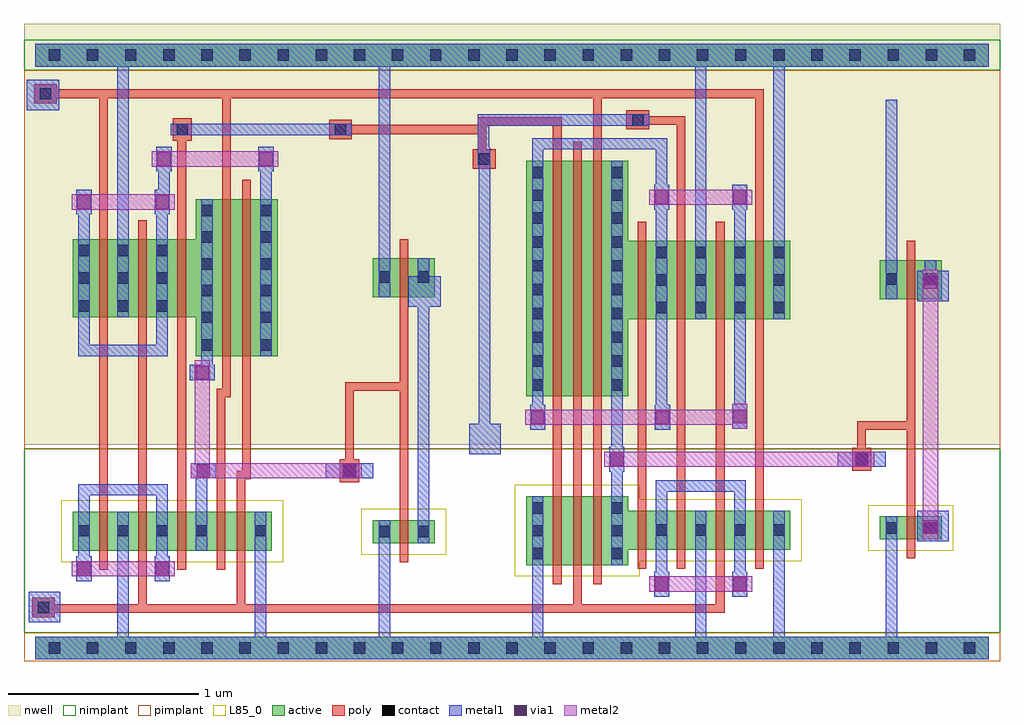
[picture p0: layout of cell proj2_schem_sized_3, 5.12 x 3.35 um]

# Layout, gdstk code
from math import pi, radians
import gdstk
lib = gdstk.Library(unit=1e-6, precision=5e-10)
def R(c, l, rs):  # rectangles x0, y0, x1, y1
    for r in rs: c.add(gdstk.rectangle(r[:2], r[2:], *l))
def A(c, l, x, y, w, h, nx, ny, dx, dy):  # array of equal rectangles
    R(c, l, [(x+i*dx, y+j*dy, x+i*dx+w, y+j*dy+h) for i in range(nx) for j in range(ny)])
def P(c, l, *ps):  # polygons
    for p in ps: c.add(gdstk.Polygon(p, *l))
active = (1, 0)
nwell = (2, 0)
poly = (3, 0)
nimplant = (4, 0)
pimplant = (5, 0)
contact = (6, 0)
metal1 = (7, 0)
via1 = (8, 0)
metal2 = (9, 0)
L85_0 = (85, 0)

nmos1v_cdns_14 = lib.new_cell('nmos1v_CDNS_14')
R(nmos1v_cdns_14, active, [(-0.14,0,0,0.12), (0,0,0.045,0.12), (0.045,0,0.185,0.12)])
R(nmos1v_cdns_14, poly, [(0,-0.1,0.045,-0.05), (0,-0.05,0.045,0), (0,0,0.045,0.12), (0,0.12,0.045,0.17), (0,0.17,0.045,0.22)])
R(nmos1v_cdns_14, nimplant, [(-0.1,-0.1,0.145,0.22), (-0.21,-0.07,0.255,0.19)])
R(nmos1v_cdns_14, contact, [(-0.11,0.03,-0.05,0.09), (0.095,0.03,0.155,0.09)])
R(nmos1v_cdns_14, metal1, [(-0.11,0,-0.05,0.12), (0.095,0,0.155,0.12)])
R(nmos1v_cdns_14, L85_0, [(-0.2,-0.06,0.245,0.18)])

nmos1v_cdns_15 = lib.new_cell('nmos1v_CDNS_15')
R(nmos1v_cdns_15, active, [(-0.03,0,0,0.36), (0,0,0.045,0.36), (0.045,0,0.075,0.36)])
R(nmos1v_cdns_15, poly, [(0,-0.1,0.045,-0.05), (0,-0.05,0.045,0), (0,0,0.045,0.36), (0,0.36,0.045,0.41), (0,0.41,0.045,0.46)])
R(nmos1v_cdns_15, nimplant, [(-0.1,-0.1,0.145,0.46), (-0.1,-0.07,0.145,0.43)])
R(nmos1v_cdns_15, L85_0, [(-0.09,-0.06,0.135,0.42)])

nmos1v_cdns_16 = lib.new_cell('nmos1v_CDNS_16')
R(nmos1v_cdns_16, active, [(-0.11,0,0,0.205), (0,0,0.045,0.205), (0.045,0,0.095,0.205)])
R(nmos1v_cdns_16, poly, [(0,-0.1,0.045,-0.05), (0,-0.05,0.045,0), (0,0,0.045,0.205), (0,0.205,0.045,0.255), (0,0.255,0.045,0.305)])
R(nmos1v_cdns_16, nimplant, [(-0.1,-0.1,0.145,0.305), (-0.18,-0.07,0.165,0.275)])
R(nmos1v_cdns_16, contact, [(-0.11,0.075,-0.05,0.135)])
R(nmos1v_cdns_16, metal1, [(-0.11,0,-0.05,0.205)])
R(nmos1v_cdns_16, L85_0, [(-0.17,-0.06,0.155,0.265)])

pmos1v_cdns_17 = lib.new_cell('pmos1v_CDNS_17')
R(pmos1v_cdns_17, active, [(-0.11,0,0,0.41), (0,0,0.045,0.41), (0.045,0,0.155,0.41)])
R(pmos1v_cdns_17, nwell, [(-0.17,-0.06,0.215,0.47)])
R(pmos1v_cdns_17, poly, [(0,-0.1,0.045,-0.05), (0,-0.05,0.045,0), (0,0,0.045,0.41), (0,0.41,0.045,0.46), (0,0.46,0.045,0.51)])
R(pmos1v_cdns_17, pimplant, [(-0.1,-0.1,0.145,0.51), (-0.18,-0.07,0.225,0.48)])
A(pmos1v_cdns_17, contact, -0.11, 0.03, 0.06, 0.06, 1, 3, 0, 0.145)
A(pmos1v_cdns_17, contact, 0.095, 0.03, 0.06, 0.06, 1, 3, 0, 0.145)
R(pmos1v_cdns_17, metal1, [(-0.11,0,-0.05,0.41), (0.095,0,0.155,0.41)])

pmos1v_cdns_18 = lib.new_cell('pmos1v_CDNS_18')
R(pmos1v_cdns_18, active, [(-0.14,0,0,0.41), (0,0,0.045,0.41), (0.045,0,0.095,0.41)])
R(pmos1v_cdns_18, nwell, [(-0.2,-0.06,0.155,0.47)])
R(pmos1v_cdns_18, poly, [(0,-0.1,0.045,-0.05), (0,-0.05,0.045,0), (0,0,0.045,0.41), (0,0.41,0.045,0.46), (0,0.46,0.045,0.51)])
R(pmos1v_cdns_18, pimplant, [(-0.1,-0.1,0.145,0.51), (-0.21,-0.07,0.165,0.48)])
A(pmos1v_cdns_18, contact, -0.11, 0.03, 0.06, 0.06, 1, 3, 0, 0.145)
R(pmos1v_cdns_18, metal1, [(-0.11,0,-0.05,0.41)])

pmos1v_cdns_19 = lib.new_cell('pmos1v_CDNS_19')
R(pmos1v_cdns_19, active, [(-0.14,0,0,0.205), (0,0,0.045,0.205), (0.045,0,0.185,0.205)])
R(pmos1v_cdns_19, nwell, [(-0.2,-0.06,0.245,0.265)])
R(pmos1v_cdns_19, poly, [(0,-0.1,0.045,-0.05), (0,-0.05,0.045,0), (0,0,0.045,0.205), (0,0.205,0.045,0.255), (0,0.255,0.045,0.305)])
R(pmos1v_cdns_19, pimplant, [(-0.1,-0.1,0.145,0.305), (-0.21,-0.07,0.255,0.275)])
R(pmos1v_cdns_19, contact, [(-0.11,0.075,-0.05,0.135), (0.095,0.075,0.155,0.135)])
R(pmos1v_cdns_19, metal1, [(-0.11,0,-0.05,0.205), (0.095,0,0.155,0.205)])

pmos1v_cdns_20 = lib.new_cell('pmos1v_CDNS_20')
R(pmos1v_cdns_20, active, [(-0.03,0,0,1.235), (0,0,0.045,1.235), (0.045,0,0.075,1.235)])
R(pmos1v_cdns_20, nwell, [(-0.09,-0.06,0.135,1.295)])
R(pmos1v_cdns_20, poly, [(0,-0.1,0.045,-0.05), (0,-0.05,0.045,0), (0,0,0.045,1.235), (0,1.235,0.045,1.285), (0,1.285,0.045,1.335)])
R(pmos1v_cdns_20, pimplant, [(-0.1,-0.1,0.145,1.335), (-0.1,-0.07,0.145,1.305)])

nmos1v_cdns_21 = lib.new_cell('nmos1v_CDNS_21')
R(nmos1v_cdns_21, active, [(-0.14,0,0,0.36), (0,0,0.045,0.36), (0.045,0,0.075,0.36)])
R(nmos1v_cdns_21, poly, [(0,-0.1,0.045,-0.05), (0,-0.05,0.045,0), (0,0,0.045,0.36), (0,0.36,0.045,0.41), (0,0.41,0.045,0.46)])
R(nmos1v_cdns_21, nimplant, [(-0.1,-0.1,0.145,0.46), (-0.21,-0.07,0.145,0.43)])
A(nmos1v_cdns_21, contact, -0.11, 0.03, 0.06, 0.06, 1, 3, 0, 0.12)
R(nmos1v_cdns_21, metal1, [(-0.11,0,-0.05,0.36)])
R(nmos1v_cdns_21, L85_0, [(-0.2,-0.06,0.135,0.42)])

pmos1v_cdns_22 = lib.new_cell('pmos1v_CDNS_22')
R(pmos1v_cdns_22, active, [(-0.14,0,0,1.235), (0,0,0.045,1.235), (0.045,0,0.075,1.235)])
R(pmos1v_cdns_22, nwell, [(-0.2,-0.06,0.135,1.295)])
R(pmos1v_cdns_22, poly, [(0,-0.1,0.045,-0.05), (0,-0.05,0.045,0), (0,0,0.045,1.235), (0,1.235,0.045,1.285), (0,1.285,0.045,1.335)])
R(pmos1v_cdns_22, pimplant, [(-0.1,-0.1,0.145,1.335), (-0.21,-0.07,0.145,1.305)])
A(pmos1v_cdns_22, contact, -0.11, 0.03, 0.06, 0.06, 1, 8, 0, 0.125)
R(pmos1v_cdns_22, contact, [(-0.11,1.025,-0.05,1.085), (-0.11,1.145,-0.05,1.205)])
R(pmos1v_cdns_22, metal1, [(-0.11,0,-0.05,1.235)])

pmos1v_cdns_23 = lib.new_cell('pmos1v_CDNS_23')
R(pmos1v_cdns_23, active, [(-0.05,0,0,0.41), (0,0,0.045,0.41), (0.045,0,0.095,0.41)])
R(pmos1v_cdns_23, nwell, [(-0.11,-0.06,0.155,0.47)])
R(pmos1v_cdns_23, poly, [(0,-0.1,0.045,-0.05), (0,-0.05,0.045,0), (0,0,0.045,0.41), (0,0.41,0.045,0.46), (0,0.46,0.045,0.51)])
R(pmos1v_cdns_23, pimplant, [(-0.1,-0.1,0.145,0.51), (-0.12,-0.07,0.165,0.48)])

pmos1v_cdns_24 = lib.new_cell('pmos1v_CDNS_24')
R(pmos1v_cdns_24, active, [(-0.14,0,0,1.235), (0,0,0.045,1.235), (0.045,0,0.075,1.235)])
R(pmos1v_cdns_24, nwell, [(-0.2,-0.06,0.135,1.295)])
R(pmos1v_cdns_24, poly, [(0,-0.1,0.045,-0.05), (0,-0.05,0.045,0), (0,0,0.045,1.235), (0,1.235,0.045,1.285), (0,1.285,0.045,1.335)])
R(pmos1v_cdns_24, pimplant, [(-0.1,-0.1,0.145,1.335), (-0.21,-0.07,0.145,1.305)])
A(pmos1v_cdns_24, contact, -0.11, 0.03, 0.06, 0.06, 1, 8, 0, 0.125)
R(pmos1v_cdns_24, contact, [(-0.11,1.025,-0.05,1.085), (-0.11,1.145,-0.05,1.205)])
R(pmos1v_cdns_24, metal1, [(-0.11,0,-0.05,1.235)])

pmos1v_cdns_25 = lib.new_cell('pmos1v_CDNS_25')
R(pmos1v_cdns_25, active, [(-0.11,0,0,0.41), (0,0,0.045,0.41), (0.045,0,0.095,0.41)])
R(pmos1v_cdns_25, nwell, [(-0.17,-0.06,0.155,0.47)])
R(pmos1v_cdns_25, poly, [(0,-0.1,0.045,-0.05), (0,-0.05,0.045,0), (0,0,0.045,0.41), (0,0.41,0.045,0.46), (0,0.46,0.045,0.51)])
R(pmos1v_cdns_25, pimplant, [(-0.1,-0.1,0.145,0.51), (-0.18,-0.07,0.165,0.48)])
A(pmos1v_cdns_25, contact, -0.11, 0.03, 0.06, 0.06, 1, 3, 0, 0.145)
R(pmos1v_cdns_25, metal1, [(-0.11,0,-0.05,0.41)])

pmos1v_cdns_26 = lib.new_cell('pmos1v_CDNS_26')
R(pmos1v_cdns_26, active, [(-0.05,0,0,0.41), (0,0,0.045,0.41), (0.045,0,0.155,0.41)])
R(pmos1v_cdns_26, nwell, [(-0.11,-0.06,0.215,0.47)])
R(pmos1v_cdns_26, poly, [(0,-0.1,0.045,-0.05), (0,-0.05,0.045,0), (0,0,0.045,0.41), (0,0.41,0.045,0.46), (0,0.46,0.045,0.51)])
R(pmos1v_cdns_26, pimplant, [(-0.1,-0.1,0.145,0.51), (-0.12,-0.07,0.225,0.48)])
A(pmos1v_cdns_26, contact, 0.095, 0.03, 0.06, 0.06, 1, 3, 0, 0.145)
R(pmos1v_cdns_26, metal1, [(0.095,0,0.155,0.41)])

nmos1v_cdns_27 = lib.new_cell('nmos1v_CDNS_27')
R(nmos1v_cdns_27, active, [(-0.14,0,0,0.205), (0,0,0.045,0.205), (0.045,0,0.095,0.205)])
R(nmos1v_cdns_27, poly, [(0,-0.1,0.045,-0.05), (0,-0.05,0.045,0), (0,0,0.045,0.205), (0,0.205,0.045,0.255), (0,0.255,0.045,0.305)])
R(nmos1v_cdns_27, nimplant, [(-0.1,-0.1,0.145,0.305), (-0.21,-0.07,0.165,0.275)])
R(nmos1v_cdns_27, contact, [(-0.11,0.075,-0.05,0.135)])
R(nmos1v_cdns_27, metal1, [(-0.11,0,-0.05,0.205)])
R(nmos1v_cdns_27, L85_0, [(-0.2,-0.06,0.155,0.265)])

nmos1v_cdns_28 = lib.new_cell('nmos1v_CDNS_28')
R(nmos1v_cdns_28, active, [(-0.03,0,0,0.36), (0,0,0.045,0.36), (0.045,0,0.185,0.36)])
R(nmos1v_cdns_28, poly, [(0,-0.1,0.045,-0.05), (0,-0.05,0.045,0), (0,0,0.045,0.36), (0,0.36,0.045,0.41), (0,0.41,0.045,0.46)])
R(nmos1v_cdns_28, nimplant, [(-0.1,-0.1,0.145,0.46), (-0.1,-0.07,0.255,0.43)])
A(nmos1v_cdns_28, contact, 0.095, 0.03, 0.06, 0.06, 1, 3, 0, 0.12)
R(nmos1v_cdns_28, metal1, [(0.095,0,0.155,0.36)])
R(nmos1v_cdns_28, L85_0, [(-0.09,-0.06,0.245,0.42)])

pmos1v_cdns_29 = lib.new_cell('pmos1v_CDNS_29')
R(pmos1v_cdns_29, active, [(-0.03,0,0,0.825), (0,0,0.045,0.825), (0.045,0,0.185,0.825)])
R(pmos1v_cdns_29, nwell, [(-0.09,-0.06,0.245,0.885)])
R(pmos1v_cdns_29, poly, [(0,-0.1,0.045,-0.05), (0,-0.05,0.045,0), (0,0,0.045,0.825), (0,0.825,0.045,0.875), (0,0.875,0.045,0.925)])
R(pmos1v_cdns_29, pimplant, [(-0.1,-0.1,0.145,0.925), (-0.1,-0.07,0.255,0.895)])
A(pmos1v_cdns_29, contact, 0.095, 0.175, 0.06, 0.06, 1, 5, 0, 0.14)
R(pmos1v_cdns_29, contact, [(0.095,0.03,0.155,0.09)])
R(pmos1v_cdns_29, metal1, [(0.095,0,0.155,0.825)])

nmos1v_cdns_30 = lib.new_cell('nmos1v_CDNS_30')
R(nmos1v_cdns_30, active, [(-0.11,0,0,0.205), (0,0,0.045,0.205), (0.045,0,0.095,0.205)])
R(nmos1v_cdns_30, poly, [(0,-0.1,0.045,-0.05), (0,-0.05,0.045,0), (0,0,0.045,0.205), (0,0.205,0.045,0.255), (0,0.255,0.045,0.305)])
R(nmos1v_cdns_30, nimplant, [(-0.1,-0.1,0.145,0.305), (-0.18,-0.07,0.165,0.275)])
R(nmos1v_cdns_30, contact, [(-0.11,0.075,-0.05,0.135)])
R(nmos1v_cdns_30, metal1, [(-0.11,0,-0.05,0.205)])
R(nmos1v_cdns_30, L85_0, [(-0.17,-0.06,0.155,0.265)])

nmos1v_cdns_31 = lib.new_cell('nmos1v_CDNS_31')
R(nmos1v_cdns_31, active, [(-0.05,0,0,0.205), (0,0,0.045,0.205), (0.045,0,0.155,0.205)])
R(nmos1v_cdns_31, poly, [(0,-0.1,0.045,-0.05), (0,-0.05,0.045,0), (0,0,0.045,0.205), (0,0.205,0.045,0.255), (0,0.255,0.045,0.305)])
R(nmos1v_cdns_31, nimplant, [(-0.1,-0.1,0.145,0.305), (-0.12,-0.07,0.225,0.275)])
R(nmos1v_cdns_31, contact, [(0.095,0.075,0.155,0.135)])
R(nmos1v_cdns_31, metal1, [(0.095,0,0.155,0.205)])
R(nmos1v_cdns_31, L85_0, [(-0.11,-0.06,0.215,0.265)])

pmos1v_cdns_32 = lib.new_cell('pmos1v_CDNS_32')
R(pmos1v_cdns_32, active, [(-0.05,0,0,0.41), (0,0,0.045,0.41), (0.045,0,0.185,0.41)])
R(pmos1v_cdns_32, nwell, [(-0.11,-0.06,0.245,0.47)])
R(pmos1v_cdns_32, poly, [(0,-0.1,0.045,-0.05), (0,-0.05,0.045,0), (0,0,0.045,0.41), (0,0.41,0.045,0.46), (0,0.46,0.045,0.51)])
R(pmos1v_cdns_32, pimplant, [(-0.1,-0.1,0.145,0.51), (-0.12,-0.07,0.255,0.48)])
A(pmos1v_cdns_32, contact, 0.095, 0.03, 0.06, 0.06, 1, 3, 0, 0.145)
R(pmos1v_cdns_32, metal1, [(0.095,0,0.155,0.41)])

nmos1v_cdns_33 = lib.new_cell('nmos1v_CDNS_33')
R(nmos1v_cdns_33, active, [(-0.14,0,0,0.205), (0,0,0.045,0.205), (0.045,0,0.075,0.205)])
R(nmos1v_cdns_33, poly, [(0,-0.1,0.045,-0.05), (0,-0.05,0.045,0), (0,0,0.045,0.205), (0,0.205,0.045,0.255), (0,0.255,0.045,0.305)])
R(nmos1v_cdns_33, nimplant, [(-0.1,-0.1,0.145,0.305), (-0.21,-0.07,0.145,0.275)])
R(nmos1v_cdns_33, contact, [(-0.11,0.075,-0.05,0.135)])
R(nmos1v_cdns_33, metal1, [(-0.11,0,-0.05,0.205)])
R(nmos1v_cdns_33, L85_0, [(-0.2,-0.06,0.135,0.265)])

pmos1v_cdns_34 = lib.new_cell('pmos1v_CDNS_34')
R(pmos1v_cdns_34, active, [(-0.14,0,0,0.825), (0,0,0.045,0.825), (0.045,0,0.075,0.825)])
R(pmos1v_cdns_34, nwell, [(-0.2,-0.06,0.135,0.885)])
R(pmos1v_cdns_34, poly, [(0,-0.1,0.045,-0.05), (0,-0.05,0.045,0), (0,0,0.045,0.825), (0,0.825,0.045,0.875), (0,0.875,0.045,0.925)])
R(pmos1v_cdns_34, pimplant, [(-0.1,-0.1,0.145,0.925), (-0.21,-0.07,0.145,0.895)])
A(pmos1v_cdns_34, contact, -0.11, 0.175, 0.06, 0.06, 1, 5, 0, 0.14)
R(pmos1v_cdns_34, contact, [(-0.11,0.03,-0.05,0.09)])
R(pmos1v_cdns_34, metal1, [(-0.11,0,-0.05,0.825)])

pmos1v_cdns_35 = lib.new_cell('pmos1v_CDNS_35')
R(pmos1v_cdns_35, active, [(-0.11,0,0,0.41), (0,0,0.045,0.41), (0.045,0,0.095,0.41)])
R(pmos1v_cdns_35, nwell, [(-0.17,-0.06,0.155,0.47)])
R(pmos1v_cdns_35, poly, [(0,-0.1,0.045,-0.05), (0,-0.05,0.045,0), (0,0,0.045,0.41), (0,0.41,0.045,0.46), (0,0.46,0.045,0.51)])
R(pmos1v_cdns_35, pimplant, [(-0.1,-0.1,0.145,0.51), (-0.18,-0.07,0.165,0.48)])
A(pmos1v_cdns_35, contact, -0.11, 0.03, 0.06, 0.06, 1, 3, 0, 0.145)
R(pmos1v_cdns_35, metal1, [(-0.11,0,-0.05,0.41)])

nmos1v_cdns_36 = lib.new_cell('nmos1v_CDNS_36')
R(nmos1v_cdns_36, active, [(-0.03,0,0,0.205), (0,0,0.045,0.205), (0.045,0,0.155,0.205)])
R(nmos1v_cdns_36, poly, [(0,-0.1,0.045,-0.05), (0,-0.05,0.045,0), (0,0,0.045,0.205), (0,0.205,0.045,0.255), (0,0.255,0.045,0.305)])
R(nmos1v_cdns_36, nimplant, [(-0.1,-0.1,0.145,0.305), (-0.1,-0.07,0.225,0.275)])
R(nmos1v_cdns_36, contact, [(0.095,0.075,0.155,0.135)])
R(nmos1v_cdns_36, metal1, [(0.095,0,0.155,0.205)])
R(nmos1v_cdns_36, L85_0, [(-0.09,-0.06,0.215,0.265)])

nmos1v_cdns_37 = lib.new_cell('nmos1v_CDNS_37')
R(nmos1v_cdns_37, active, [(-0.11,0,0,0.205), (0,0,0.045,0.205), (0.045,0,0.095,0.205)])
R(nmos1v_cdns_37, poly, [(0,-0.1,0.045,-0.05), (0,-0.05,0.045,0), (0,0,0.045,0.205), (0,0.205,0.045,0.255), (0,0.255,0.045,0.305)])
R(nmos1v_cdns_37, nimplant, [(-0.1,-0.1,0.145,0.305), (-0.18,-0.07,0.165,0.275)])
R(nmos1v_cdns_37, contact, [(-0.11,0.075,-0.05,0.135)])
R(nmos1v_cdns_37, metal1, [(-0.11,0,-0.05,0.205)])
R(nmos1v_cdns_37, L85_0, [(-0.17,-0.06,0.155,0.265)])

nmos1v_cdns_38 = lib.new_cell('nmos1v_CDNS_38')
R(nmos1v_cdns_38, active, [(-0.05,0,0,0.205), (0,0,0.045,0.205), (0.045,0,0.185,0.205)])
R(nmos1v_cdns_38, poly, [(0,-0.1,0.045,-0.05), (0,-0.05,0.045,0), (0,0,0.045,0.205), (0,0.205,0.045,0.255), (0,0.255,0.045,0.305)])
R(nmos1v_cdns_38, nimplant, [(-0.1,-0.1,0.145,0.305), (-0.12,-0.07,0.255,0.275)])
R(nmos1v_cdns_38, contact, [(0.095,0.075,0.155,0.135)])
R(nmos1v_cdns_38, metal1, [(0.095,0,0.155,0.205)])
R(nmos1v_cdns_38, L85_0, [(-0.11,-0.06,0.245,0.265)])

m1_po_cdns_1 = lib.new_cell('M1_PO_CDNS_1')
R(m1_po_cdns_1, poly, [(-0.06,-0.0475,0.06,0.0525)])
R(m1_po_cdns_1, contact, [(-0.03,-0.0275,0.03,0.0325)])
R(m1_po_cdns_1, metal1, [(-0.06,-0.0275,0.06,0.0325)])

m2_m1_cdns_2 = lib.new_cell('M2_M1_CDNS_2')
R(m2_m1_cdns_2, metal1, [(-0.065,-0.04,0.065,0.04)])
R(m2_m1_cdns_2, via1, [(-0.035,-0.035,0.035,0.035)])
R(m2_m1_cdns_2, metal2, [(-0.04,-0.065,0.04,0.065)])

m1_po_cdns_3 = lib.new_cell('M1_PO_CDNS_3')
R(m1_po_cdns_3, poly, [(-0.0475,-0.06,0.0525,0.06)])
R(m1_po_cdns_3, contact, [(-0.0275,-0.03,0.0325,0.03)])
R(m1_po_cdns_3, metal1, [(-0.0575,-0.03,0.0625,0.03)])

m1_po_cdns_4 = lib.new_cell('M1_PO_CDNS_4')
R(m1_po_cdns_4, poly, [(-0.06,-0.05,0.06,0.05)])
R(m1_po_cdns_4, contact, [(-0.03,-0.03,0.03,0.03)])
R(m1_po_cdns_4, metal1, [(-0.06,-0.03,0.06,0.03)])

m2_m1_cdns_5 = lib.new_cell('M2_M1_CDNS_5')
R(m2_m1_cdns_5, metal1, [(-0.04,-0.12,0.04,0.01)])
R(m2_m1_cdns_5, via1, [(-0.035,-0.09,0.035,-0.02)])
R(m2_m1_cdns_5, metal2, [(-0.04,-0.12,0.04,0.01)])

m2_m1_cdns_6 = lib.new_cell('M2_M1_CDNS_6')
R(m2_m1_cdns_6, metal1, [(-0.04,-0.065,0.04,0.065)])
R(m2_m1_cdns_6, via1, [(-0.035,-0.035,0.035,0.035)])
R(m2_m1_cdns_6, metal2, [(-0.04,-0.065,0.04,0.065)])

m2_m1_cdns_7 = lib.new_cell('M2_M1_CDNS_7')
R(m2_m1_cdns_7, metal1, [(-0.04,-0.065,0.04,0.065)])
R(m2_m1_cdns_7, via1, [(-0.035,-0.035,0.035,0.035)])
R(m2_m1_cdns_7, metal2, [(-0.065,-0.04,0.065,0.04)])

m2_m1_cdns_8 = lib.new_cell('M2_M1_CDNS_8')
R(m2_m1_cdns_8, metal1, [(-0.1225,-0.04,0.1275,0.04)])
R(m2_m1_cdns_8, via1, [(-0.0325,-0.035,0.0375,0.035)])
R(m2_m1_cdns_8, metal2, [(-0.0625,-0.04,0.0675,0.04)])

m1_po_cdns_9 = lib.new_cell('M1_PO_CDNS_9')
R(m1_po_cdns_9, poly, [(-0.0475,-0.06,0.0525,0.06)])
R(m1_po_cdns_9, contact, [(-0.0275,-0.03,0.0325,0.03)])
R(m1_po_cdns_9, metal1, [(-0.1225,-0.04,0.1275,0.04)])

m2_m1_cdns_10 = lib.new_cell('M2_M1_CDNS_10')
R(m2_m1_cdns_10, metal1, [(-0.125,-0.04,0.125,0.04)])
R(m2_m1_cdns_10, via1, [(-0.035,-0.035,0.035,0.035)])
R(m2_m1_cdns_10, metal2, [(-0.065,-0.04,0.065,0.04)])

m2_m1_cdns_11 = lib.new_cell('M2_M1_CDNS_11')
R(m2_m1_cdns_11, metal1, [(-0.065,-0.04,0.065,0.04)])
R(m2_m1_cdns_11, via1, [(-0.035,-0.035,0.035,0.035)])
R(m2_m1_cdns_11, metal2, [(-0.065,-0.04,0.065,0.04)])

m1_po_cdns_12 = lib.new_cell('M1_PO_CDNS_12')
R(m1_po_cdns_12, poly, [(-0.05,-0.06,0.05,0.06)])
R(m1_po_cdns_12, contact, [(-0.03,-0.03,0.03,0.03)])
R(m1_po_cdns_12, metal1, [(-0.125,-0.04,0.125,0.04)])

m1_po_cdns_13 = lib.new_cell('M1_PO_CDNS_13')
R(m1_po_cdns_13, poly, [(-0.06,-0.0475,0.06,0.0525)])
R(m1_po_cdns_13, contact, [(-0.03,-0.0275,0.03,0.0325)])
R(m1_po_cdns_13, metal1, [(-0.03,-0.0575,0.03,0.0625)])

proj2_schem_sized_3 = lib.new_cell('proj2_schem_sized_3')
R(proj2_schem_sized_3, active, [(0.775,-3.325,5.775,-3.205), (0.775,-0.215,5.775,-0.095)])
R(proj2_schem_sized_3, nwell, [(0.715,-2.2,5.835,0.01)])
P(proj2_schem_sized_3, poly, [(0.87,-3.08),(0.86,-3.07),(0.86,-3.045),(0.87,-3.035),(1.36,-3.035),(1.36,-3.08)])
R(proj2_schem_sized_3, nimplant, [(0.715,-3.185,5.835,-2.22), (0.715,-0.235,5.835,-0.075)])
R(proj2_schem_sized_3, pimplant, [(0.715,-3.335,5.835,-3.185), (0.715,-2.22,5.835,-0.235)])
A(proj2_schem_sized_3, contact, 0.845, -3.295, 0.06, 0.06, 25, 2, 0.2, 3.11)
R(proj2_schem_sized_3, metal1, [(0.775,-3.325,5.775,-3.205), (1.145,-3.29,1.205,-3.23), (0.74,-3.13,0.905,-2.97), (0.775,-3.08,0.835,-3.02), (5.4,-2.705,5.565,-2.545), (3.05,-2.25,3.215,-2.09), (3.13,-2.21,3.19,-2.15), (2.73,-1.475,2.9,-1.315), (5.4,-1.445,5.565,-1.285), (5.44,-1.44,5.5,-1.38), (2.78,-1.435,2.84,-1.375), (0.73,-0.445,0.9,-0.285), (0.79,-0.38,0.85,-0.32), (0.775,-0.215,5.775,-0.095), (1.75,-0.185,1.81,-0.125)])
proj2_schem_sized_3.add(gdstk.FlexPath([(2.4225,-1.8925),(2.7075,-1.8925)], 0.045, ends="extended", simple_path=True, layer=3, datatype=0))  # poly
proj2_schem_sized_3.add(gdstk.FlexPath([(2.4225,-2.335),(2.4225,-1.8925)], 0.045, ends=(0, 0.0225), simple_path=True, layer=3, datatype=0))  # poly
proj2_schem_sized_3.add(gdstk.FlexPath([(2.7075,-1.525),(2.7075,-1.8925)], 0.045, ends=(0, 0.0225), simple_path=True, layer=3, datatype=0))  # poly
proj2_schem_sized_3.add(gdstk.FlexPath([(5.1075,-2.275),(5.1075,-2.0975)], 0.045, ends=(0, 0.0225), simple_path=True, layer=3, datatype=0))  # poly
proj2_schem_sized_3.add(gdstk.FlexPath([(5.3675,-1.535),(5.3675,-2.0975)], 0.045, ends=(0, 0.0225), simple_path=True, layer=3, datatype=0))  # poly
proj2_schem_sized_3.add(gdstk.FlexPath([(5.1075,-2.0975),(5.3675,-2.0975)], 0.045, ends="extended", simple_path=True, layer=3, datatype=0))  # poly
proj2_schem_sized_3.add(gdstk.FlexPath([(4.1625,-1.03),(4.1625,-0.4975)], 0.045, ends=(0, 0.0225), simple_path=True, layer=3, datatype=0))  # poly
proj2_schem_sized_3.add(gdstk.FlexPath([(4.3675,-3.0575),(3.6175,-3.0575)], 0.045, ends="extended", simple_path=True, layer=3, datatype=0))  # poly
proj2_schem_sized_3.add(gdstk.FlexPath([(0.8825,-3.0575),(0.8825,-3.035)], 0.045, ends=(0.0225, 0), simple_path=True, layer=3, datatype=0))  # poly
proj2_schem_sized_3.add(gdstk.FlexPath([(1.1325,-0.3575),(0.8275,-0.3575)], 0.045, ends=(0.0225, 0), simple_path=True, layer=3, datatype=0))  # poly
proj2_schem_sized_3.add(gdstk.FlexPath([(3.7225,-0.3575),(1.7775,-0.3575)], 0.045, ends="extended", simple_path=True, layer=3, datatype=0))  # poly
proj2_schem_sized_3.add(gdstk.FlexPath([(1.3375,-2.855),(1.3375,-3.0575)], 0.045, ends=(0, 0.0225), simple_path=True, layer=3, datatype=0))  # poly
proj2_schem_sized_3.add(gdstk.FlexPath([(4.3675,-2.85),(4.3675,-3.0575)], 0.045, ends=(0, 0.0225), simple_path=True, layer=3, datatype=0))  # poly
proj2_schem_sized_3.add(gdstk.FlexPath([(1.8525,-2.855),(1.8525,-3.0575)], 0.045, ends=(0, 0.0225), simple_path=True, layer=3, datatype=0))  # poly
proj2_schem_sized_3.add(gdstk.FlexPath([(1.8525,-2.3575),(1.8525,-2.45)], 0.045, ends=(0.0225, 0), simple_path=True, layer=3, datatype=0))  # poly
proj2_schem_sized_3.add(gdstk.FlexPath([(1.8825,-2.3575),(1.8525,-2.3575)], 0.045, ends="extended", simple_path=True, layer=3, datatype=0))  # poly
proj2_schem_sized_3.add(gdstk.FlexPath([(1.8825,-1.835),(1.8825,-2.3575)], 0.045, ends=(0, 0.0225), simple_path=True, layer=3, datatype=0))  # poly
proj2_schem_sized_3.add(gdstk.FlexPath([(1.7475,-2.45),(1.7475,-1.9275)], 0.045, ends=(0, 0.0225), simple_path=True, layer=3, datatype=0))  # poly
proj2_schem_sized_3.add(gdstk.FlexPath([(1.7475,-1.9275),(1.7775,-1.9275)], 0.045, ends="extended", simple_path=True, layer=3, datatype=0))  # poly
proj2_schem_sized_3.add(gdstk.FlexPath([(1.7775,-1.9275),(1.7775,-1.835)], 0.045, ends=(0.0225, 0), simple_path=True, layer=3, datatype=0))  # poly
proj2_schem_sized_3.add(gdstk.FlexPath([(1.5425,-1.63),(1.5425,-2.45)], 0.045, ends="flush", simple_path=True, layer=3, datatype=0))  # poly
proj2_schem_sized_3.add(gdstk.FlexPath([(1.3375,-1.63),(1.3375,-2.45)], 0.045, ends="flush", simple_path=True, layer=3, datatype=0))  # poly
proj2_schem_sized_3.add(gdstk.FlexPath([(1.1325,-1.63),(1.1325,-2.45)], 0.045, ends="flush", simple_path=True, layer=3, datatype=0))  # poly
proj2_schem_sized_3.add(gdstk.FlexPath([(4.5725,-0.3575),(3.7225,-0.3575)], 0.045, ends="extended", simple_path=True, layer=3, datatype=0))  # poly
proj2_schem_sized_3.add(gdstk.FlexPath([(3.5125,-0.61),(3.5125,-0.5025)], 0.045, ends=(0, 0.0225), simple_path=True, layer=3, datatype=0))  # poly
proj2_schem_sized_3.add(gdstk.FlexPath([(3.1175,-0.5025),(3.1175,-0.545)], 0.045, ends=(0.0225, 0.025), simple_path=True, layer=3, datatype=0))  # poly
proj2_schem_sized_3.add(gdstk.FlexPath([(3.5125,-0.5025),(3.1175,-0.5025)], 0.045, ends="extended", simple_path=True, layer=3, datatype=0))  # poly
proj2_schem_sized_3.add(gdstk.FlexPath([(3.1175,-0.7025),(3.13,-0.7025)], 0.045, ends=(0.0225, 0), simple_path=True, layer=3, datatype=0))  # poly
proj2_schem_sized_3.add(gdstk.FlexPath([(1.5425,-1.02),(1.5425,-0.51)], 0.045, ends="flush", simple_path=True, layer=3, datatype=0))  # poly
proj2_schem_sized_3.add(gdstk.FlexPath([(2.375,-0.545),(3.1175,-0.545)], 0.05, ends=(0, 0.0225), simple_path=True, layer=3, datatype=0))  # poly
proj2_schem_sized_3.add(gdstk.FlexPath([(3.1175,-0.545),(3.1175,-0.7025)], 0.045, ends=(0.025, 0.0225), simple_path=True, layer=3, datatype=0))  # poly
proj2_schem_sized_3.add(gdstk.FlexPath([(3.9575,-1.64),(3.9575,-2.445)], 0.045, ends="flush", simple_path=True, layer=3, datatype=0))  # poly
proj2_schem_sized_3.add(gdstk.FlexPath([(4.1625,-2.445),(4.1625,-1.64)], 0.045, ends="flush", simple_path=True, layer=3, datatype=0))  # poly
proj2_schem_sized_3.add(gdstk.FlexPath([(4.3675,-2.445),(4.3675,-1.64)], 0.045, ends="flush", simple_path=True, layer=3, datatype=0))  # poly
proj2_schem_sized_3.add(gdstk.FlexPath([(3.7225,-2.045),(3.7225,-2.37)], 0.045, ends="flush", simple_path=True, layer=3, datatype=0))  # poly
proj2_schem_sized_3.add(gdstk.FlexPath([(3.6175,-2.045),(3.6175,-2.37)], 0.045, ends="flush", simple_path=True, layer=3, datatype=0))  # poly
proj2_schem_sized_3.add(gdstk.FlexPath([(3.5125,-2.045),(3.5125,-2.37)], 0.045, ends="flush", simple_path=True, layer=3, datatype=0))  # poly
proj2_schem_sized_3.add(gdstk.FlexPath([(5.3675,-2.0975),(5.3675,-2.475)], 0.045, ends=(0.0225, 0), simple_path=True, layer=3, datatype=0))  # poly
proj2_schem_sized_3.add(gdstk.FlexPath([(4.5725,-1.64),(4.5725,-2.445)], 0.045, ends="flush", simple_path=True, layer=3, datatype=0))  # poly
proj2_schem_sized_3.add(gdstk.FlexPath([(2.7075,-1.8925),(2.7075,-2.495)], 0.045, ends=(0.0225, 0), simple_path=True, layer=3, datatype=0))  # poly
proj2_schem_sized_3.add(gdstk.FlexPath([(4.1625,-0.4975),(3.935,-0.4975)], 0.045, ends=(0.0225, 0), simple_path=True, layer=3, datatype=0))  # poly
proj2_schem_sized_3.add(gdstk.FlexPath([(3.7225,-0.61),(3.7225,-0.3575)], 0.045, ends=(0, 0.0225), simple_path=True, layer=3, datatype=0))  # poly
proj2_schem_sized_3.add(gdstk.FlexPath([(3.6175,-2.93),(3.6175,-3.0575)], 0.045, ends=(0, 0.0225), simple_path=True, layer=3, datatype=0))  # poly
proj2_schem_sized_3.add(gdstk.FlexPath([(4.5725,-1.03),(4.5725,-0.3575)], 0.045, ends=(0, 0.0225), simple_path=True, layer=3, datatype=0))  # poly
proj2_schem_sized_3.add(gdstk.FlexPath([(1.7775,-0.3575),(1.1325,-0.3575)], 0.045, ends="extended", simple_path=True, layer=3, datatype=0))  # poly
proj2_schem_sized_3.add(gdstk.FlexPath([(1.7775,-0.81),(1.7775,-0.3575)], 0.045, ends=(0, 0.0225), simple_path=True, layer=3, datatype=0))  # poly
proj2_schem_sized_3.add(gdstk.FlexPath([(1.1325,-1.02),(1.1325,-0.3575)], 0.045, ends=(0, 0.0225), simple_path=True, layer=3, datatype=0))  # poly
proj2_schem_sized_3.add(gdstk.FlexPath([(3.6175,-3.0575),(1.8525,-3.0575)], 0.045, ends="extended", simple_path=True, layer=3, datatype=0))  # poly
proj2_schem_sized_3.add(gdstk.FlexPath([(1.8525,-3.0575),(1.3375,-3.0575)], 0.045, ends="extended", simple_path=True, layer=3, datatype=0))  # poly
proj2_schem_sized_3.add(gdstk.FlexPath([(1.645,-2.335),(1.655,-2.335)], 0.06, ends=(0.03, 0), simple_path=True, layer=7, datatype=0))  # metal1
proj2_schem_sized_3.add(gdstk.FlexPath([(1.675,-1.735),(1.675,-1.82)], 0.06, ends=(0, 0.03), simple_path=True, layer=7, datatype=0))  # metal1
proj2_schem_sized_3.add(gdstk.FlexPath([(3.825,-2.47),(3.825,-2.275)], 0.06, ends="flush", simple_path=True, layer=7, datatype=0))  # metal1
proj2_schem_sized_3.add(gdstk.FlexPath([(4.06,-0.9),(4.06,-0.62)], 0.06, ends=(0, 0.03), simple_path=True, layer=7, datatype=0))  # metal1
proj2_schem_sized_3.add(gdstk.FlexPath([(4.47,-1.13),(4.47,-0.9)], 0.06, ends="flush", simple_path=True, layer=7, datatype=0))  # metal1
proj2_schem_sized_3.add(gdstk.FlexPath([(4.06,-0.62),(3.41,-0.62)], 0.06, ends="extended", simple_path=True, layer=7, datatype=0))  # metal1
proj2_schem_sized_3.add(gdstk.FlexPath([(4.47,-1.54),(4.47,-2.05)], 0.06, ends="flush", simple_path=True, layer=7, datatype=0))  # metal1
proj2_schem_sized_3.add(gdstk.FlexPath([(4.06,-2.055),(4.065,-2.055)], 0.06, ends=(0.03, 0), simple_path=True, layer=7, datatype=0))  # metal1
proj2_schem_sized_3.add(gdstk.FlexPath([(4.06,-1.54),(4.06,-2.055)], 0.06, ends=(0, 0.03), simple_path=True, layer=7, datatype=0))  # metal1
proj2_schem_sized_3.add(gdstk.FlexPath([(3.41,-1.945),(3.41,-2.055)], 0.06, ends="flush", simple_path=True, layer=7, datatype=0))  # metal1
proj2_schem_sized_3.add(gdstk.FlexPath([(4.47,-2.75),(4.47,-2.93)], 0.06, ends="flush", simple_path=True, layer=7, datatype=0))  # metal1
proj2_schem_sized_3.add(gdstk.FlexPath([(4.06,-2.75),(4.06,-2.93)], 0.06, ends="flush", simple_path=True, layer=7, datatype=0))  # metal1
proj2_schem_sized_3.add(gdstk.FlexPath([(4.06,-2.545),(4.06,-2.415)], 0.06, ends=(0, 0.03), simple_path=True, layer=7, datatype=0))  # metal1
proj2_schem_sized_3.add(gdstk.FlexPath([(1.44,-2.435),(1.44,-2.55)], 0.06, ends=(0.03, 0), simple_path=True, layer=7, datatype=0))  # metal1
proj2_schem_sized_3.add(gdstk.FlexPath([(1.03,-2.435),(1.44,-2.435)], 0.06, ends="extended", simple_path=True, layer=7, datatype=0))  # metal1
proj2_schem_sized_3.add(gdstk.FlexPath([(1.03,-2.55),(1.03,-2.435)], 0.06, ends=(0, 0.03), simple_path=True, layer=7, datatype=0))  # metal1
proj2_schem_sized_3.add(gdstk.FlexPath([(1.44,-2.885),(1.44,-2.755)], 0.06, ends="flush", simple_path=True, layer=7, datatype=0))  # metal1
proj2_schem_sized_3.add(gdstk.FlexPath([(1.03,-2.755),(1.03,-2.885)], 0.06, ends="flush", simple_path=True, layer=7, datatype=0))  # metal1
proj2_schem_sized_3.add(gdstk.FlexPath([(1.44,-1.735),(1.44,-1.53)], 0.06, ends="flush", simple_path=True, layer=7, datatype=0))  # metal1
proj2_schem_sized_3.add(gdstk.FlexPath([(1.03,-1.705),(1.44,-1.705)], 0.06, ends=(0.03, 0), simple_path=True, layer=7, datatype=0))  # metal1
proj2_schem_sized_3.add(gdstk.FlexPath([(1.03,-1.53),(1.03,-1.705)], 0.06, ends=(0, 0.03), simple_path=True, layer=7, datatype=0))  # metal1
proj2_schem_sized_3.add(gdstk.FlexPath([(1.44,-0.925),(1.45,-0.925)], 0.06, ends=(0, 0.03), simple_path=True, layer=7, datatype=0))  # metal1
proj2_schem_sized_3.add(gdstk.FlexPath([(1.45,-0.925),(1.45,-0.7)], 0.06, ends=(0.03, 0), simple_path=True, layer=7, datatype=0))  # metal1
proj2_schem_sized_3.add(gdstk.FlexPath([(1.985,-0.7),(1.985,-0.91)], 0.06, ends="flush", simple_path=True, layer=7, datatype=0))  # metal1
proj2_schem_sized_3.add(gdstk.FlexPath([(1.44,-1.12),(1.44,-0.925)], 0.06, ends=(0, 0.03), simple_path=True, layer=7, datatype=0))  # metal1
proj2_schem_sized_3.add(gdstk.FlexPath([(1.03,-1.12),(1.03,-0.925)], 0.06, ends="flush", simple_path=True, layer=7, datatype=0))  # metal1
proj2_schem_sized_3.add(gdstk.FlexPath([(5.47,-1.38),(5.47,-1.345)], 0.06, ends="flush", simple_path=True, layer=7, datatype=0))  # metal1
proj2_schem_sized_3.add(gdstk.FlexPath([(4.47,-2.415),(4.47,-2.545)], 0.06, ends=(0.03, 0), simple_path=True, layer=7, datatype=0))  # metal1
proj2_schem_sized_3.add(gdstk.FlexPath([(4.06,-2.415),(4.47,-2.415)], 0.06, ends="extended", simple_path=True, layer=7, datatype=0))  # metal1
proj2_schem_sized_3.add(gdstk.FlexPath([(1.235,-1.12),(1.235,-0.215)], 0.06, ends="flush", simple_path=True, layer=7, datatype=0))  # metal1
proj2_schem_sized_3.add(gdstk.FlexPath([(4.265,-1.13),(4.265,-0.215)], 0.06, ends="flush", simple_path=True, layer=7, datatype=0))  # metal1
proj2_schem_sized_3.add(gdstk.FlexPath([(3.41,-2.83),(3.41,-3.205)], 0.06, ends="flush", simple_path=True, layer=7, datatype=0))  # metal1
proj2_schem_sized_3.add(gdstk.FlexPath([(4.675,-2.75),(4.675,-3.205)], 0.06, ends="flush", simple_path=True, layer=7, datatype=0))  # metal1
proj2_schem_sized_3.add(gdstk.FlexPath([(4.265,-2.75),(4.265,-3.205)], 0.06, ends="flush", simple_path=True, layer=7, datatype=0))  # metal1
proj2_schem_sized_3.add(gdstk.FlexPath([(1.235,-2.755),(1.235,-3.205)], 0.06, ends="flush", simple_path=True, layer=7, datatype=0))  # metal1
proj2_schem_sized_3.add(gdstk.FlexPath([(1.955,-2.755),(1.955,-3.205)], 0.06, ends="flush", simple_path=True, layer=7, datatype=0))  # metal1
proj2_schem_sized_3.add(gdstk.FlexPath([(1.675,-1.82),(1.65,-1.82)], 0.06, ends=(0.03, 0), simple_path=True, layer=7, datatype=0))  # metal1
proj2_schem_sized_3.add(gdstk.FlexPath([(4.675,-1.13),(4.675,-0.215)], 0.06, ends="flush", simple_path=True, layer=7, datatype=0))  # metal1
proj2_schem_sized_3.add(gdstk.FlexPath([(5.265,-1.23),(5.265,-0.39)], 0.06, ends="flush", simple_path=True, layer=7, datatype=0))  # metal1
proj2_schem_sized_3.add(gdstk.FlexPath([(2.605,-2.715),(2.605,-3.205)], 0.06, ends="flush", simple_path=True, layer=7, datatype=0))  # metal1
proj2_schem_sized_3.add(gdstk.FlexPath([(2.81,-1.425),(2.81,-2.595)], 0.06, ends="flush", simple_path=True, layer=7, datatype=0))  # metal1
proj2_schem_sized_3.add(gdstk.FlexPath([(2.605,-1.22),(2.605,-0.215)], 0.06, ends="flush", simple_path=True, layer=7, datatype=0))  # metal1
proj2_schem_sized_3.add(gdstk.FlexPath([(1.645,-2.55),(1.645,-2.335)], 0.06, ends=(0, 0.03), simple_path=True, layer=7, datatype=0))  # metal1
proj2_schem_sized_3.add(gdstk.FlexPath([(3.13,-0.7025),(3.13,-2.09)], 0.06, ends="flush", simple_path=True, layer=7, datatype=0))  # metal1
proj2_schem_sized_3.add(gdstk.FlexPath([(3.935,-0.495),(3.125,-0.495)], 0.06, ends=(0, 0.03), simple_path=True, layer=7, datatype=0))  # metal1
proj2_schem_sized_3.add(gdstk.FlexPath([(3.125,-0.495),(3.125,-0.705)], 0.06, ends="extended", simple_path=True, layer=7, datatype=0))  # metal1
proj2_schem_sized_3.add(gdstk.FlexPath([(3.41,-0.62),(3.41,-0.71)], 0.06, ends=(0.03, 0), simple_path=True, layer=7, datatype=0))  # metal1
proj2_schem_sized_3.add(gdstk.FlexPath([(3.125,-0.705),(3.13,-0.705)], 0.06, ends=(0.03, 0), simple_path=True, layer=7, datatype=0))  # metal1
proj2_schem_sized_3.add(gdstk.FlexPath([(1.545,-0.545),(2.3775,-0.545)], 0.06, ends="flush", simple_path=True, layer=7, datatype=0))  # metal1
proj2_schem_sized_3.add(gdstk.FlexPath([(5.265,-2.695),(5.265,-3.205)], 0.06, ends="flush", simple_path=True, layer=7, datatype=0))  # metal1
proj2_schem_sized_3.add(gdstk.FlexPath([(3.825,-1.945),(3.825,-2.275)], 0.06, ends="flush", simple_path=True, layer=7, datatype=0))  # metal1
proj2_schem_sized_3.add(gdstk.FlexPath([(4.06,-1.13),(4.06,-0.9)], 0.06, ends="flush", simple_path=True, layer=7, datatype=0))  # metal1
proj2_schem_sized_3.add(gdstk.FlexPath([(1.655,-2.335),(2.4225,-2.335)], 0.08, ends="flush", simple_path=True, layer=9, datatype=0))  # metal2
proj2_schem_sized_3.add(gdstk.FlexPath([(5.1075,-2.275),(3.825,-2.275)], 0.08, ends="flush", simple_path=True, layer=9, datatype=0))  # metal2
proj2_schem_sized_3.add(gdstk.FlexPath([(4.47,-0.9),(4.06,-0.9)], 0.08, ends="flush", simple_path=True, layer=9, datatype=0))  # metal2
proj2_schem_sized_3.add(gdstk.FlexPath([(4.47,-2.05),(4.47,-2.055)], 0.08, ends=(0, 0.04), simple_path=True, layer=9, datatype=0))  # metal2
proj2_schem_sized_3.add(gdstk.FlexPath([(4.47,-2.055),(4.065,-2.055)], 0.08, ends=(0.04, 0), simple_path=True, layer=9, datatype=0))  # metal2
proj2_schem_sized_3.add(gdstk.FlexPath([(3.41,-2.055),(4.055,-2.055)], 0.08, ends="flush", simple_path=True, layer=9, datatype=0))  # metal2
proj2_schem_sized_3.add(gdstk.FlexPath([(4.06,-2.93),(4.475,-2.93)], 0.08, ends="flush", simple_path=True, layer=9, datatype=0))  # metal2
proj2_schem_sized_3.add(gdstk.FlexPath([(1.03,-2.85),(1.44,-2.85)], 0.08, ends="flush", simple_path=True, layer=9, datatype=0))  # metal2
proj2_schem_sized_3.add(gdstk.FlexPath([(1.45,-0.7),(1.985,-0.7)], 0.08, ends="flush", simple_path=True, layer=9, datatype=0))  # metal2
proj2_schem_sized_3.add(gdstk.FlexPath([(1.03,-0.925),(1.43,-0.925)], 0.08, ends="flush", simple_path=True, layer=9, datatype=0))  # metal2
proj2_schem_sized_3.add(gdstk.FlexPath([(5.47,-1.345),(5.47,-2.575)], 0.08, ends="flush", simple_path=True, layer=9, datatype=0))  # metal2
proj2_schem_sized_3.add(gdstk.FlexPath([(1.65,-1.82),(1.65,-2.335)], 0.08, ends=(0, 0.04), simple_path=True, layer=9, datatype=0))  # metal2
proj2_schem_sized_3.add(gdstk.FlexPath([(1.65,-2.335),(1.655,-2.335)], 0.08, ends=(0.04, 0), simple_path=True, layer=9, datatype=0))  # metal2
proj2_schem_sized_3.add(gdstk.Reference(nmos1v_cdns_14, (5.345,-2.695)))
proj2_schem_sized_3.add(gdstk.Reference(nmos1v_cdns_14, (2.685,-2.715)))
proj2_schem_sized_3.add(gdstk.Reference(nmos1v_cdns_15, (3.595,-2.83)))
proj2_schem_sized_3.add(gdstk.Reference(nmos1v_cdns_16, (3.98,-2.75), rotation=pi, x_reflection=True))
proj2_schem_sized_3.add(gdstk.Reference(pmos1v_cdns_17, (1.315,-1.53)))
proj2_schem_sized_3.add(gdstk.Reference(pmos1v_cdns_18, (4.595,-1.54), rotation=pi, x_reflection=True))
proj2_schem_sized_3.add(gdstk.Reference(pmos1v_cdns_19, (2.685,-1.425)))
proj2_schem_sized_3.add(gdstk.Reference(pmos1v_cdns_19, (5.345,-1.435)))
proj2_schem_sized_3.add(gdstk.Reference(pmos1v_cdns_20, (3.595,-1.945)))
proj2_schem_sized_3.add(gdstk.Reference(nmos1v_cdns_21, (3.49,-2.83)))
proj2_schem_sized_3.add(gdstk.Reference(pmos1v_cdns_22, (3.49,-1.945)))
proj2_schem_sized_3.add(gdstk.Reference(pmos1v_cdns_23, (1.52,-1.53)))
proj2_schem_sized_3.add(gdstk.Reference(pmos1v_cdns_24, (3.745,-1.945), rotation=pi, x_reflection=True))
proj2_schem_sized_3.add(gdstk.Reference(pmos1v_cdns_25, (4.185,-1.54), rotation=pi, x_reflection=True))
proj2_schem_sized_3.add(gdstk.Reference(pmos1v_cdns_26, (4.345,-1.54)))
proj2_schem_sized_3.add(gdstk.Reference(nmos1v_cdns_27, (4.595,-2.75), rotation=pi, x_reflection=True))
proj2_schem_sized_3.add(gdstk.Reference(nmos1v_cdns_28, (3.7,-2.83)))
proj2_schem_sized_3.add(gdstk.Reference(pmos1v_cdns_29, (1.8,-1.735), rotation=pi, x_reflection=True))
proj2_schem_sized_3.add(gdstk.Reference(nmos1v_cdns_30, (4.185,-2.75), rotation=pi, x_reflection=True))
proj2_schem_sized_3.add(gdstk.Reference(nmos1v_cdns_30, (1.315,-2.755)))
proj2_schem_sized_3.add(gdstk.Reference(nmos1v_cdns_31, (4.345,-2.75)))
proj2_schem_sized_3.add(gdstk.Reference(pmos1v_cdns_32, (1.155,-1.53), rotation=pi, x_reflection=True))
proj2_schem_sized_3.add(gdstk.Reference(nmos1v_cdns_33, (1.875,-2.755), rotation=pi, x_reflection=True))
proj2_schem_sized_3.add(gdstk.Reference(pmos1v_cdns_34, (1.905,-1.735), rotation=pi, x_reflection=True))
proj2_schem_sized_3.add(gdstk.Reference(pmos1v_cdns_35, (3.98,-1.54), rotation=pi, x_reflection=True))
proj2_schem_sized_3.add(gdstk.Reference(nmos1v_cdns_36, (1.77,-2.755), rotation=pi, x_reflection=True))
proj2_schem_sized_3.add(gdstk.Reference(nmos1v_cdns_37, (1.52,-2.755)))
proj2_schem_sized_3.add(gdstk.Reference(nmos1v_cdns_38, (1.155,-2.755), rotation=pi, x_reflection=True))
proj2_schem_sized_3.add(gdstk.Reference(m1_po_cdns_1, (3.935,-0.4975)))
proj2_schem_sized_3.add(gdstk.Reference(m1_po_cdns_1, (2.375,-0.5475)))
proj2_schem_sized_3.add(gdstk.Reference(m2_m1_cdns_2, (1.65,-1.82)))
proj2_schem_sized_3.add(gdstk.Reference(m1_po_cdns_3, (1.5425,-0.545)))
proj2_schem_sized_3.add(gdstk.Reference(m1_po_cdns_4, (0.8175,-3.0525)))
proj2_schem_sized_3.add(gdstk.Reference(m1_po_cdns_4, (0.8275,-0.3575)))
proj2_schem_sized_3.add(gdstk.Reference(m2_m1_cdns_5, (5.47,-2.575)))
proj2_schem_sized_3.add(gdstk.Reference(m2_m1_cdns_6, (4.47,-2.05)))
proj2_schem_sized_3.add(gdstk.Reference(m2_m1_cdns_6, (5.47,-1.345)))
proj2_schem_sized_3.add(gdstk.Reference(m2_m1_cdns_7, (3.825,-2.275)))
proj2_schem_sized_3.add(gdstk.Reference(m2_m1_cdns_7, (4.06,-0.9)))
proj2_schem_sized_3.add(gdstk.Reference(m2_m1_cdns_7, (4.47,-0.9)))
proj2_schem_sized_3.add(gdstk.Reference(m2_m1_cdns_7, (4.065,-2.055)))
proj2_schem_sized_3.add(gdstk.Reference(m2_m1_cdns_7, (3.41,-2.055)))
proj2_schem_sized_3.add(gdstk.Reference(m2_m1_cdns_7, (1.44,-2.85)))
proj2_schem_sized_3.add(gdstk.Reference(m2_m1_cdns_7, (1.03,-2.85)))
proj2_schem_sized_3.add(gdstk.Reference(m2_m1_cdns_7, (4.47,-2.93)))
proj2_schem_sized_3.add(gdstk.Reference(m2_m1_cdns_7, (4.06,-2.93)))
proj2_schem_sized_3.add(gdstk.Reference(m2_m1_cdns_7, (1.985,-0.7)))
proj2_schem_sized_3.add(gdstk.Reference(m2_m1_cdns_7, (1.45,-0.7)))
proj2_schem_sized_3.add(gdstk.Reference(m2_m1_cdns_7, (1.44,-0.925)))
proj2_schem_sized_3.add(gdstk.Reference(m2_m1_cdns_7, (1.03,-0.925)))
proj2_schem_sized_3.add(gdstk.Reference(m2_m1_cdns_8, (5.1075,-2.275)))
proj2_schem_sized_3.add(gdstk.Reference(m1_po_cdns_9, (5.1075,-2.275)))
proj2_schem_sized_3.add(gdstk.Reference(m2_m1_cdns_10, (2.4225,-2.335)))
proj2_schem_sized_3.add(gdstk.Reference(m2_m1_cdns_11, (1.655,-2.335)))
proj2_schem_sized_3.add(gdstk.Reference(m1_po_cdns_12, (2.4225,-2.335)))
proj2_schem_sized_3.add(gdstk.Reference(m1_po_cdns_13, (3.13,-0.7025)))

lib.write_gds('proj2_schem_sized_3.gds')
